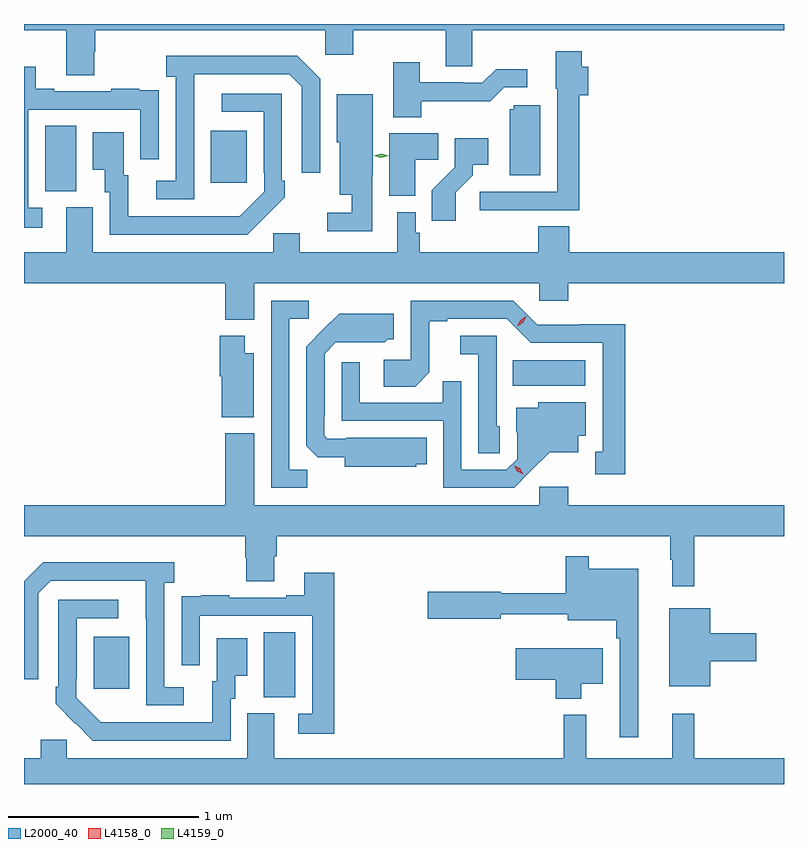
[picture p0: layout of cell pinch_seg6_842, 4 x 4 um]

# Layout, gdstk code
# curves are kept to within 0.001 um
import gdstk
lib = gdstk.Library(unit=1e-6, precision=1e-09)
def R(c, l, rs):  # rectangles x0, y0, x1, y1
    for r in rs: c.add(gdstk.rectangle(r[:2], r[2:], *l))
def P(c, l, *ps):  # polygons
    for p in ps: c.add(gdstk.Polygon(p, *l))
L2000_40 = (2000, 40)
L4158_0 = (4158, 0)
L4159_0 = (4159, 0)

pinch_seg6_842 = lib.new_cell('pinch_seg6_842')
R(pinch_seg6_842, L2000_40, [(161.366,921.181,161.53,921.524), (160.469,921.225,160.657,921.499), (162.676,922.82,163.057,922.954), (160.214,923.845,160.378,924.188), (161.087,923.889,161.275,924.163)])
P(pinch_seg6_842, L2000_40, [(160.473,924.579),(160.478,924.579),(160.478,924.692),(161.688,924.692),(161.688,924.561),(161.835,924.561),(161.835,924.692),(162.323,924.692),(162.323,924.502),(162.462,924.502),(162.462,924.692),(164.103,924.692),(164.103,924.724),(160.103,924.724),(160.103,924.692),(160.325,924.692),(160.325,924.454),(160.473,924.454)],
  [(162.725,923.745),(163.025,923.745),(163.025,924.35),(163.073,924.35),(163.073,924.498),(163.038,924.498),(163.038,924.58),(162.902,924.58),(162.902,924.384),(162.909,924.384),(162.909,923.841),(162.501,923.841),(162.501,923.743),(162.725,923.743)],
  [(160.998,924.259),(160.999,924.459),(161.499,924.459),(161.565,924.393),(161.565,923.94),(161.661,923.94),(161.661,924.435),(161.54,924.556),(160.851,924.556),(160.851,924.446),(160.902,924.446),(160.902,923.898),(160.8,923.898),(160.8,923.802),(160.998,923.802)],
  [(162.195,924.318),(162.557,924.317),(162.63,924.39),(162.751,924.39),(162.751,924.487),(162.589,924.487),(162.516,924.414),(162.416,924.414),(162.416,924.417),(162.187,924.417),(162.187,924.523),(162.047,924.523),(162.047,924.233),(162.195,924.233)],
  [(160.198,923.757),(160.125,923.757),(160.125,924.273),(160.716,924.273),(160.716,924.012),(160.812,924.012),(160.812,924.266),(160.811,924.266),(160.811,924.375),(160.709,924.375),(160.709,924.382),(160.561,924.382),(160.561,924.369),(160.261,924.369),(160.261,924.382),(160.165,924.382),(160.165,924.499),(160.103,924.499),(160.103,923.652),(160.198,923.652)],
  [(161.369,923.707),(161.37,923.706),(161.475,923.811),(161.475,923.899),(161.46,923.899),(161.46,924.357),(161.145,924.357),(161.145,924.261),(161.364,924.261),(161.364,923.941),(161.367,923.941),(161.367,923.841),(161.239,923.713),(160.651,923.712),(160.651,923.928),(160.627,923.928),(160.627,924.154),(160.466,924.154),(160.466,923.957),(160.529,923.957),(160.529,923.838),(160.554,923.838),(160.554,923.616),(161.278,923.616)],
  [(161.937,923.929),(161.938,923.929),(161.938,924.355),(161.75,924.355),(161.75,924.102),(161.765,924.102),(161.765,923.825),(161.829,923.825),(161.829,923.73),(161.7,923.73),(161.7,923.634),(161.937,923.634)],
  [(162.82,924.297),(162.681,924.297),(162.681,924.276),(162.659,924.276),(162.659,923.928),(162.82,923.928)],
  [(162.163,924.01),(162.284,924.01),(162.284,924.148),(162.026,924.148),(162.026,923.819),(162.163,923.819)],
  [(162.376,923.839),(162.466,923.929),(162.466,923.984),(162.547,923.984),(162.547,924.124),(162.369,924.124),(162.369,923.969),(162.25,923.85),(162.25,923.688),(162.376,923.688)],
  [(162.809,923.524),(162.185,923.524),(162.185,923.625),(162.165,923.625),(162.165,923.734),(162.068,923.734),(162.068,923.524),(161.554,923.524),(161.554,923.622),(161.415,923.622),(161.415,923.524),(160.465,923.524),(160.465,923.76),(160.325,923.76),(160.325,923.524),(160.103,923.524),(160.103,923.36),(161.162,923.36),(161.162,923.168),(161.314,923.168),(161.314,923.36),(162.816,923.36),(162.816,923.267),(162.968,923.267),(162.968,923.36),(164.103,923.36),(164.103,923.524),(162.974,923.524),(162.974,923.66),(162.809,923.66)],
  [(163.267,923.144),(163.026,923.144),(163.026,923.142),(162.804,923.142),(162.678,923.268),(162.138,923.268),(162.138,922.956),(161.997,922.956),(161.997,922.816),(162.161,922.816),(162.237,922.892),(162.237,923.16),(162.331,923.16),(162.331,923.172),(162.645,923.172),(162.771,923.046),(163.148,923.046),(163.148,922.473),(163.109,922.473),(163.109,922.353),(163.267,922.353)],
  [(161.595,922.379),(161.499,922.379),(161.499,923.172),(161.602,923.172),(161.602,923.268),(161.403,923.268),(161.403,922.284),(161.595,922.284)],
  [(162.168,922.406),(162.224,922.406),(162.224,922.546),(161.8,922.546),(161.8,922.542),(161.7,922.542),(161.682,922.56),(161.682,922.66),(161.685,922.66),(161.685,922.989),(161.745,923.049),(162.002,923.048),(162.018,923.064),(162.049,923.064),(162.049,923.2),(161.761,923.2),(161.589,923.026),(161.589,922.504),(161.648,922.445),(161.792,922.445),(161.792,922.394),(162.168,922.394)],
  [(161.311,922.99),(161.266,922.99),(161.266,923.083),(161.132,923.083),(161.132,922.869),(161.144,922.869),(161.144,922.655),(161.311,922.655)],
  [(162.606,922.608),(162.591,922.608),(162.591,923.082),(162.399,923.082),(162.399,922.985),(162.495,922.985),(162.495,922.465),(162.606,922.465)],
  [(162.766,922.367),(162.869,922.469),(163.021,922.469),(163.021,922.556),(163.06,922.556),(163.06,922.732),(162.81,922.732),(162.81,922.705),(162.695,922.705),(162.695,922.576),(162.699,922.576),(162.699,922.434),(162.642,922.377),(162.405,922.377),(162.405,922.844),(162.307,922.844),(162.307,922.731),(161.871,922.731),(161.871,922.945),(161.775,922.945),(161.775,922.635),(162.309,922.635),(162.309,922.284),(162.682,922.284)],
  [(163.631,922.028),(164.103,922.028),(164.103,922.192),(162.968,922.192),(162.968,922.288),(162.816,922.288),(162.816,922.192),(161.314,922.192),(161.314,922.57),(161.162,922.57),(161.162,922.192),(160.103,922.192),(160.103,922.028),(161.267,922.028),(161.267,921.915),(161.272,921.915),(161.272,921.79),(161.419,921.79),(161.419,921.922),(161.432,921.922),(161.432,922.028),(163.503,922.028),(163.503,921.905),(163.514,921.905),(163.514,921.765),(163.631,921.765)],
  [(163.336,921.856),(163.075,921.856),(163.075,921.922),(162.954,921.922),(162.954,921.727),(162.612,921.727),(162.612,921.735),(162.228,921.735),(162.228,921.593),(162.612,921.593),(162.612,921.617),(162.965,921.617),(162.965,921.587),(163.219,921.587),(163.219,921.491),(163.239,921.491),(163.239,920.97),(163.336,920.97)],
  [(160.945,921.234),(160.842,921.234),(160.842,921.782),(160.894,921.782),(160.894,921.892),(160.204,921.892),(160.103,921.791),(160.103,921.276),(160.179,921.276),(160.179,921.729),(160.245,921.795),(160.745,921.795),(160.746,921.138),(160.945,921.138)],
  [(161.735,921.835),(161.579,921.835),(161.579,921.718),(161.483,921.718),(161.483,921.705),(161.183,921.705),(161.183,921.718),(161.035,921.718),(161.035,921.711),(160.933,921.711),(160.933,921.602),(160.932,921.602),(160.932,921.348),(161.028,921.348),(161.028,921.609),(161.619,921.609),(161.619,921.093),(161.547,921.093),(161.547,920.988),(161.735,920.988)],
  [(161.19,921.174),(161.215,921.174),(161.215,921.293),(161.278,921.293),(161.278,921.49),(161.117,921.49),(161.117,921.264),(161.093,921.264),(161.093,921.048),(160.506,921.049),(160.377,921.177),(160.377,921.277),(160.38,921.277),(160.38,921.597),(160.6,921.597),(160.6,921.693),(160.284,921.693),(160.284,921.235),(160.269,921.235),(160.269,921.147),(160.466,920.952),(161.19,920.952)],
  [(163.714,921.371),(163.957,921.371),(163.957,921.518),(163.714,921.518),(163.714,921.649),(163.499,921.649),(163.499,921.239),(163.714,921.239)],
  [(163.036,921.251),(163.15,921.251),(163.15,921.439),(162.69,921.439),(162.69,921.274),(162.902,921.274),(162.902,921.173),(163.036,921.173)],
  [(160.19,920.958),(160.19,920.86),(160.103,920.86),(160.103,920.724),(164.103,920.724),(164.103,920.86),(163.631,920.86),(163.631,921.094),(163.514,921.094),(163.514,920.86),(163.061,920.86),(163.061,921.088),(162.943,921.088),(162.943,920.86),(161.419,920.86),(161.419,921.096),(161.279,921.096),(161.279,920.86),(160.329,920.86),(160.329,920.958)])
P(pinch_seg6_842, L4158_0, [(162.698,923.133),(162.698,923.133),(162.715,923.166),(162.746,923.185),(162.746,923.185),(162.746,923.185),(162.729,923.152),(162.698,923.133)],
  [(162.73,922.355),(162.699,922.37),(162.682,922.4),(162.682,922.4),(162.682,922.4),(162.713,922.385),(162.73,922.355),(162.73,922.355)])
P(pinch_seg6_842, L4159_0, [(161.982,924.02),(161.943,924.03),(161.942,924.03),(161.943,924.03),(161.982,924.04),(162.022,924.03),(162.022,924.03),(162.022,924.03)])

lib.write_gds('pinch_seg6_842.gds')
